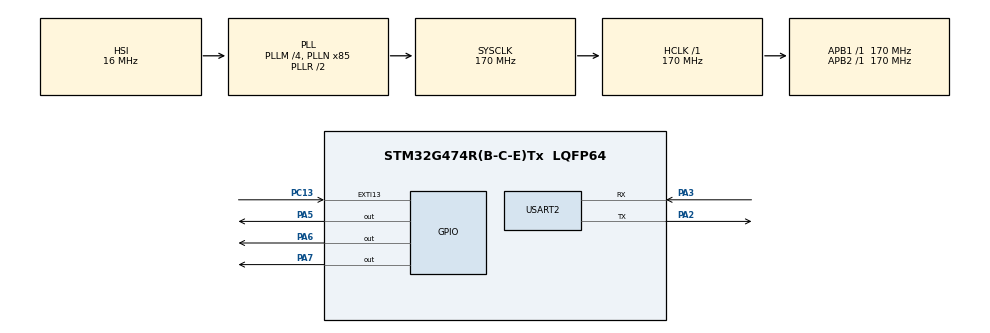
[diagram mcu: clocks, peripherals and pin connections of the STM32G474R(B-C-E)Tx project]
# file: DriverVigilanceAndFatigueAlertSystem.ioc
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Mcu.Family=STM32G4
Mcu.Name=STM32G474R(B-C-E)Tx
Mcu.Package=LQFP64
NVIC.EXTI15_10_IRQn=true\:0\:0\:false\:false\:true\:true\:true\:true
NVIC.PriorityGroup=NVIC_PRIORITYGROUP_4
NVIC.TIM2_IRQn=true\:0\:0\:false\:false\:true\:true\:true\:true
PA13.GPIO_Label=T_SWDIO
PA13.Signal=SYS_JTMS-SWDIO
PA14.GPIO_Label=T_SWCLK
PA14.Signal=SYS_JTCK-SWCLK
PA2.Mode=Asynchronous
PA2.Signal=USART2_TX
PA3.Mode=Asynchronous
PA3.Signal=USART2_RX
PA5.Signal=GPIO_Output
PA6.Signal=GPIO_Output
PA7.Signal=GPIO_Output
PB3.GPIO_Label=T_SWO
PB3.Signal=SYS_JTDO-SWO
PC13.GPIO_ModeDefaultEXTI=GPIO_MODE_IT_FALLING
PC13.GPIO_PuPd=GPIO_NOPULL
PC13.Signal=GPXTI13
PC14-OSC32_IN.GPIO_Label=RCC_OSC32_IN
PC14-OSC32_IN.Signal=RCC_OSC32_IN
PC15-OSC32_OUT.GPIO_Label=RCC_OSC32_OUT
PC15-OSC32_OUT.Signal=RCC_OSC32_OUT
PF0-OSC_IN.GPIO_Label=RCC_OSC_IN
PF0-OSC_IN.Signal=RCC_OSC_IN
PF1-OSC_OUT.GPIO_Label=RCC_OSC_OUT
PF1-OSC_OUT.Signal=RCC_OSC_OUT
ProjectManager.HeapSize=0x200
ProjectManager.StackSize=0x400
ProjectManager.TargetToolchain=STM32CubeIDE
RCC.ADC12Freq_Value=170000000
RCC.ADC345Freq_Value=170000000
RCC.AHBFreq_Value=170000000
RCC.APB1Freq_Value=170000000
RCC.APB1TimFreq_Value=170000000
RCC.APB2Freq_Value=170000000
RCC.APB2TimFreq_Value=170000000
RCC.CortexFreq_Value=170000000
RCC.EXTERNAL_CLOCK_VALUE=12288000
RCC.HCLKFreq_Value=170000000
RCC.HSE_VALUE=24000000
RCC.HSI48_VALUE=48000000
RCC.HSI_VALUE=16000000
RCC.LSE_VALUE=32768
RCC.PLLM=RCC_PLLM_DIV4
RCC.PLLN=85
RCC.RTCClockSelection=RCC_RTCCLKSOURCE_LSE
RCC.SYSCLKFreq_VALUE=170000000
RCC.SYSCLKSource=RCC_SYSCLKSOURCE_PLLCLK
RCC.USBFreq_Value=170000000
RCC.VCOOutputFreq_Value=340000000
TIM2.PeriodNoDither=999
TIM2.Prescaler=169
USART2.VirtualMode-Asynchronous=VM_ASYNC
VP_SYS_VS_DBSignals.Mode=DisableDeadBatterySignals
VP_TIM2_VS_ClockSourceINT.Mode=Internal
board=NUCLEO-G474RE

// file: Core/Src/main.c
/* USER CODE BEGIN Header */
/**
  ******************************************************************************
  * @file           : main.c
  * @brief          : Main program body
  ******************************************************************************
  * @attention
  *
  * Copyright (c) 2026 STMicroelectronics.
  * All rights reserved.
  *
  * This software is licensed under terms that can be found in the LICENSE file
  * in the root directory of this software component.
  * If no LICENSE file comes with this software, it is provided AS-IS.
  *
  ******************************************************************************
  */
/* USER CODE END Header */
#include "main.h"

/* USER CODE BEGIN Includes */

#include <stdio.h>
#include <string.h>

/* USER CODE END Includes */

TIM_HandleTypeDef htim2;

UART_HandleTypeDef huart2;

/* USER CODE BEGIN PV */
/* 狀態機定義：定義系統目前的三種運作模式 */
typedef enum {
    STATE_IDLE,       // 1. 待命巡航：綠燈常亮，等待 2.5~4.0 秒隨機抽測
    STATE_TESTING,    // 2. 抽測進行中：綠燈滅、黃燈 2Hz 慢閃，等待駕駛按鍵
    STATE_ALERT       // 3. 警報中：黃燈續閃、紅燈 10Hz 超快閃（蜂鳴器替身）
} DriverState_t;

volatile DriverState_t state = STATE_IDLE; // 當前狀態，加 volatile 防止編譯器優化
volatile uint32_t ms_ticks = 0;            // 核心時基：TIM2 每 1ms 遞增 1
volatile uint32_t test_start_ms = 0;       // 記錄每次抽測開始的當下時間戳（毫秒）
volatile uint32_t next_test_delay = 3000;  // 記錄下一次抽測預計發起的時間點

/* 隨機間隔產生函式：模擬真實巡航 25~40 分鐘（Demo 縮放為 2.5~4.0 秒） */
uint32_t get_random_interval(void) {
    // 利用硬體計數器累加的毫秒數來取餘數，產生 2500 ~ 4000 之間的數值
    return 2500 + (ms_ticks % 1501);
}
/* USER CODE END PV */

void SystemClock_Config(void);
static void MX_GPIO_Init(void);
static void MX_TIM2_Init(void);
static void MX_USART2_UART_Init(void);

/* USER CODE BEGIN 0 */
/* TIM2 1ms 週期溢位中斷（每 1ms 硬體自動跳進來執行一次） */
void HAL_TIM_PeriodElapsedCallback(TIM_HandleTypeDef *htim) {
    if (htim->Instance == TIM2) {
        ms_ticks++; // 核心時鐘前進 1ms

        // 行為 A：若處於抽測狀態，黃燈慢閃 (2 Hz)
        // 2 Hz 代表一秒閃兩次（週期 500ms），即每 250ms 反轉一次電位
        if (state == STATE_TESTING) {
            HAL_GPIO_WritePin(GPIOA, GPIO_PIN_5, GPIO_PIN_RESET); // 綠燈熄滅
            if (ms_ticks % 250 == 0) {
                HAL_GPIO_TogglePin(GPIOA, GPIO_PIN_6); // 反轉 PA6 (黃燈)
            }
        }
        // 行為 B：若處於昏睡警報狀態，黃燈續閃，紅燈超急促暴閃 (10 Hz)
        // 10 Hz 代表每 50ms 反轉一次電位，模擬刺耳的警報蜂鳴器
        else if (state == STATE_ALERT) {
            if (ms_ticks % 250 == 0) {
                HAL_GPIO_TogglePin(GPIOA, GPIO_PIN_6); // 黃燈維持閃爍
            }
            if (ms_ticks % 50 == 0) {
                HAL_GPIO_TogglePin(GPIOA, GPIO_PIN_7); // 反轉 PA7 (紅燈急鳴)
            }
        }
    }
}

/* EXTI 外部中斷（按下 PC13 藍色按鈕 B1 的瞬間觸發） */
void HAL_GPIO_EXTI_Callback(uint16_t GPIO_Pin) {
    if (GPIO_Pin == GPIO_PIN_13) {
        static uint32_t last_btn_ms = 0;

        // 1. 軟體去彈跳：若兩次中斷觸發間隔小於 50ms，視為機械金屬彈跳雜訊直接丟棄
        if (ms_ticks - last_btn_ms < 50) return;
        last_btn_ms = ms_ticks; // 記錄本次有效按下的時間

        // 2. 情境一：抽測期間按下按鍵（判定駕駛清醒）
        if (state == STATE_TESTING) {
            uint32_t reaction_time = ms_ticks - test_start_ms; // 計算花費了多少毫秒

            // 透過 UART 印出雲端通過日誌
            char msg[64];
            snprintf(msg, sizeof(msg), "[PASS] Driver Clear! Reaction: %lu ms\r\n", reaction_time);
            HAL_UART_Transmit(&huart2, (uint8_t*)msg, strlen(msg), 100);

            // 燈號復歸：綠燈亮、黃燈紅燈熄滅
            HAL_GPIO_WritePin(GPIOA, GPIO_PIN_5, GPIO_PIN_SET);
            HAL_GPIO_WritePin(GPIOA, GPIO_PIN_6, GPIO_PIN_RESET);
            HAL_GPIO_WritePin(GPIOA, GPIO_PIN_7, GPIO_PIN_RESET);

            // 排定下一次抽測時間，並將系統切回 IDLE 待命模式
            next_test_delay = ms_ticks + get_random_interval();
            state = STATE_IDLE;
        }
        // 3. 情境二：在警報暴閃狀態下按鍵（駕駛被喚醒，手動解除警報）
        else if (state == STATE_ALERT) {
            char *msg = "[RESET] Alert cleared by driver. Resuming cruise...\r\n";
            HAL_UART_Transmit(&huart2, (uint8_t*)msg, strlen(msg), 100);

            // 燈號復歸待命：綠燈常亮、黃紅燈熄滅
            HAL_GPIO_WritePin(GPIOA, GPIO_PIN_5, GPIO_PIN_SET);
            HAL_GPIO_WritePin(GPIOA, GPIO_PIN_6, GPIO_PIN_RESET);
            HAL_GPIO_WritePin(GPIOA, GPIO_PIN_7, GPIO_PIN_RESET);

            // 重新排定下次抽測，回到 IDLE 待命
            next_test_delay = ms_ticks + get_random_interval();
            state = STATE_IDLE;
        }
    }
}
/* USER CODE END 0 */

int main(void)
{

  /* MCU Configuration--------------------------------------------------------*/

  /* Reset of all peripherals, Initializes the Flash interface and the Systick. */
  HAL_Init();

  /* Configure the system clock */
  SystemClock_Config();

  /* Initialize all configured peripherals */
  MX_GPIO_Init();
  MX_TIM2_Init();
  MX_USART2_UART_Init();
  /* USER CODE BEGIN 2 */
    // 1. 設定開機預設燈號：綠燈亮起（待命巡航），黃紅燈熄滅
    HAL_GPIO_WritePin(GPIOA, GPIO_PIN_5, GPIO_PIN_SET);
    HAL_GPIO_WritePin(GPIOA, GPIO_PIN_6, GPIO_PIN_RESET);
    HAL_GPIO_WritePin(GPIOA, GPIO_PIN_7, GPIO_PIN_RESET);

    // 2. 啟動 TIM2 週期中斷計時器（如果沒寫這行，TIM2 就不會開始計數）
    HAL_TIM_Base_Start_IT(&htim2);

    // 3. 透過 USART2 向終端機發送開機自檢完成訊息
    char *boot_msg = "\r\n=== Driver Vigilance Alert System Started ===\r\nCruise state: Safe.\r\n";
    HAL_UART_Transmit(&huart2, (uint8_t*)boot_msg, strlen(boot_msg), 100);
    /* USER CODE END 2 */

  /* Infinite loop */
  /* USER CODE BEGIN WHILE */
    /* Infinite loop */
      /* USER CODE BEGIN WHILE */
      while (1)
      {
        /* USER CODE END WHILE */

    	  /* USER CODE BEGIN 3 */
    	    //  1：檢查待命時間是否到了（2.5 ~ 4.0 秒），到了就啟動抽測
    	    if (state == STATE_IDLE && ms_ticks >= next_test_delay) {
    	        state = STATE_TESTING;     // 切換至抽測狀態（觸發中斷裡的黃燈慢閃）
    	        test_start_ms = ms_ticks;  // 記錄抽測開始的當下時間

    	        char *msg = "\r\n>>> [ATTENTION TEST] Yellow light flashing! Press B1 within 5s! <<<\r\n";
    	        HAL_UART_Transmit(&huart2, (uint8_t*)msg, strlen(msg), 100);
    	    }

    	    // 2：檢查抽測是否超過 10 秒完全無反應（判定微睡眠昏迷）
    	    if (state == STATE_TESTING && (ms_ticks - test_start_ms >= 10000)) {
    	        state = STATE_ALERT;       // 切換至警報狀態（觸發中斷裡的紅燈暴閃）
    	        char *msg = "[ALERT CRITICAL] Unresponsive for >10s! Microsleep detected! Buzzer ON!\r\n";
    	        HAL_UART_Transmit(&huart2, (uint8_t*)msg, strlen(msg), 100);
    	    }
    	    /* USER CODE END 3 */
}

void SystemClock_Config(void)
{
  RCC_OscInitTypeDef RCC_OscInitStruct = {0};
  RCC_ClkInitTypeDef RCC_ClkInitStruct = {0};

  /** Configure the main internal regulator output voltage
  */
  HAL_PWREx_ControlVoltageScaling(PWR_REGULATOR_VOLTAGE_SCALE1_BOOST);

  /** Initializes the RCC Oscillators according to the specified parameters
  * in the RCC_OscInitTypeDef structure.
  */
  RCC_OscInitStruct.OscillatorType = RCC_OSCILLATORTYPE_HSI;
  RCC_OscInitStruct.HSIState = RCC_HSI_ON;
  RCC_OscInitStruct.HSICalibrationValue = RCC_HSICALIBRATION_DEFAULT;
  RCC_OscInitStruct.PLL.PLLState = RCC_PLL_ON;
  RCC_OscInitStruct.PLL.PLLSource = RCC_PLLSOURCE_HSI;
  RCC_OscInitStruct.PLL.PLLM = RCC_PLLM_DIV4;
  RCC_OscInitStruct.PLL.PLLN = 85;
  RCC_OscInitStruct.PLL.PLLP = RCC_PLLP_DIV2;
  RCC_OscInitStruct.PLL.PLLQ = RCC_PLLQ_DIV2;
  RCC_OscInitStruct.PLL.PLLR = RCC_PLLR_DIV2;
  if (HAL_RCC_OscConfig(&RCC_OscInitStruct) != HAL_OK)
  {
    Error_Handler();
  }

  /** Initializes the CPU, AHB and APB buses clocks
  */
  RCC_ClkInitStruct.ClockType = RCC_CLOCKTYPE_HCLK|RCC_CLOCKTYPE_SYSCLK
                              |RCC_CLOCKTYPE_PCLK1|RCC_CLOCKTYPE_PCLK2;
  RCC_ClkInitStruct.SYSCLKSource = RCC_SYSCLKSOURCE_PLLCLK;
  RCC_ClkInitStruct.AHBCLKDivider = RCC_SYSCLK_DIV1;
  RCC_ClkInitStruct.APB1CLKDivider = RCC_HCLK_DIV1;
  RCC_ClkInitStruct.APB2CLKDivider = RCC_HCLK_DIV1;

  if (HAL_RCC_ClockConfig(&RCC_ClkInitStruct, FLASH_LATENCY_4) != HAL_OK)
  {
    Error_Handler();
  }
}

static void MX_TIM2_Init(void)
{

  TIM_ClockConfigTypeDef sClockSourceConfig = {0};
  TIM_MasterConfigTypeDef sMasterConfig = {0};

  htim2.Instance = TIM2;
  htim2.Init.Prescaler = 169;
  htim2.Init.CounterMode = TIM_COUNTERMODE_UP;
  htim2.Init.Period = 999;
  htim2.Init.ClockDivision = TIM_CLOCKDIVISION_DIV1;
  htim2.Init.AutoReloadPreload = TIM_AUTORELOAD_PRELOAD_DISABLE;
  if (HAL_TIM_Base_Init(&htim2) != HAL_OK)
  {
    Error_Handler();
  }
  sClockSourceConfig.ClockSource = TIM_CLOCKSOURCE_INTERNAL;
  if (HAL_TIM_ConfigClockSource(&htim2, &sClockSourceConfig) != HAL_OK)
  {
    Error_Handler();
  }
  sMasterConfig.MasterOutputTrigger = TIM_TRGO_RESET;
  sMasterConfig.MasterSlaveMode = TIM_MASTERSLAVEMODE_DISABLE;
  if (HAL_TIMEx_MasterConfigSynchronization(&htim2, &sMasterConfig) != HAL_OK)
  {
    Error_Handler();
  }

}

static void MX_USART2_UART_Init(void)
{

  huart2.Instance = USART2;
  huart2.Init.BaudRate = 115200;
  huart2.Init.WordLength = UART_WORDLENGTH_8B;
  huart2.Init.StopBits = UART_STOPBITS_1;
  huart2.Init.Parity = UART_PARITY_NONE;
  huart2.Init.Mode = UART_MODE_TX_RX;
  huart2.Init.HwFlowCtl = UART_HWCONTROL_NONE;
  huart2.Init.OverSampling = UART_OVERSAMPLING_16;
  huart2.Init.OneBitSampling = UART_ONE_BIT_SAMPLE_DISABLE;
  huart2.Init.ClockPrescaler = UART_PRESCALER_DIV1;
  huart2.AdvancedInit.AdvFeatureInit = UART_ADVFEATURE_NO_INIT;
  if (HAL_UART_Init(&huart2) != HAL_OK)
  {
    Error_Handler();
  }
  if (HAL_UARTEx_SetTxFifoThreshold(&huart2, UART_TXFIFO_THRESHOLD_1_8) != HAL_OK)
  {
    Error_Handler();
  }
  if (HAL_UARTEx_SetRxFifoThreshold(&huart2, UART_RXFIFO_THRESHOLD_1_8) != HAL_OK)
  {
    Error_Handler();
  }
  if (HAL_UARTEx_DisableFifoMode(&huart2) != HAL_OK)
  {
    Error_Handler();
  }

}

static void MX_GPIO_Init(void)
{
  GPIO_InitTypeDef GPIO_InitStruct = {0};

  /* GPIO Ports Clock Enable */
  __HAL_RCC_GPIOC_CLK_ENABLE();
  __HAL_RCC_GPIOF_CLK_ENABLE();
  __HAL_RCC_GPIOA_CLK_ENABLE();
  __HAL_RCC_GPIOB_CLK_ENABLE();

  /*Configure GPIO pin Output Level */
  HAL_GPIO_WritePin(GPIOA, GPIO_PIN_5|GPIO_PIN_6|GPIO_PIN_7, GPIO_PIN_RESET);

  /*Configure GPIO pin : PC13 */
  GPIO_InitStruct.Pin = GPIO_PIN_13;
  GPIO_InitStruct.Mode = GPIO_MODE_IT_FALLING;
  GPIO_InitStruct.Pull = GPIO_NOPULL;
  HAL_GPIO_Init(GPIOC, &GPIO_InitStruct);

  /*Configure GPIO pins : PA5 PA6 PA7 */
  GPIO_InitStruct.Pin = GPIO_PIN_5|GPIO_PIN_6|GPIO_PIN_7;
  GPIO_InitStruct.Mode = GPIO_MODE_OUTPUT_PP;
  GPIO_InitStruct.Pull = GPIO_NOPULL;
  GPIO_InitStruct.Speed = GPIO_SPEED_FREQ_LOW;
  HAL_GPIO_Init(GPIOA, &GPIO_InitStruct);

  /* EXTI interrupt init*/
  HAL_NVIC_SetPriority(EXTI15_10_IRQn, 0, 0);
  HAL_NVIC_EnableIRQ(EXTI15_10_IRQn);

}

void Error_Handler(void)
{
  __disable_irq();
  while (1)
  {
  }
}
